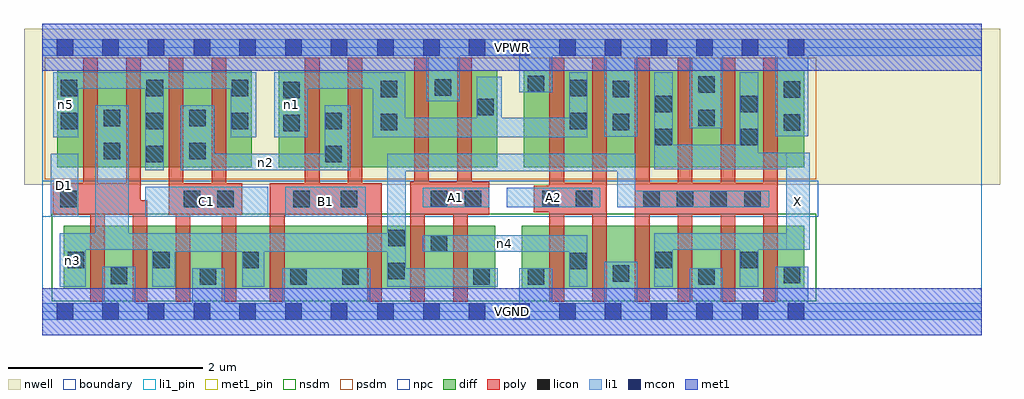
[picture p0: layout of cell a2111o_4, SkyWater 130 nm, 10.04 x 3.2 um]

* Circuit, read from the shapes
.subckt a2111o_4 A1 A2 B1 C1 D1 VGND VPWR X n1 n2 n3 n4 n5
XM1 VGND D1 n3 VSUBS sky130_fd_pr__nfet_01v8 w=0.65 l=0.15 m=2
XM2 VGND C1 n3 VSUBS sky130_fd_pr__nfet_01v8 w=0.65 l=0.15 m=2
XM3 VGND B1 n3 VSUBS sky130_fd_pr__nfet_01v8 w=0.65 l=0.15 m=2
XM4 n4 A1 n3 VSUBS sky130_fd_pr__nfet_01v8 w=0.65 l=0.15 m=2
XM5 n4 A2 VGND VSUBS sky130_fd_pr__nfet_01v8 w=0.65 l=0.15 m=2
XM6 X n3 VGND VSUBS sky130_fd_pr__nfet_01v8 w=0.65 l=0.15 m=4
XM7 n3 D1 n5 n6 sky130_fd_pr__pfet_01v8 w=1 l=0.15 m=2
XM8 n2 C1 n5 n6 sky130_fd_pr__pfet_01v8 w=1 l=0.15 m=2
XM9 n2 B1 n1 n6 sky130_fd_pr__pfet_01v8 w=1 l=0.15 m=2
XM10 VPWR A1 n1 n6 sky130_fd_pr__pfet_01v8 w=1 l=0.15 m=2
XM11 n1 A2 VPWR n6 sky130_fd_pr__pfet_01v8 w=1 l=0.15 m=2
XM12 X n3 VPWR n6 sky130_fd_pr__pfet_01v8 w=1 l=0.15 m=4
.ends

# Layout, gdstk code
import gdstk
lib = gdstk.Library(unit=1e-6, precision=1e-09)
def R(c, l, rs):  # rectangles x0, y0, x1, y1
    for r in rs: c.add(gdstk.rectangle(r[:2], r[2:], *l))
def A(c, l, x, y, w, h, nx, ny, dx, dy):  # array of equal rectangles
    R(c, l, [(x+i*dx, y+j*dy, x+i*dx+w, y+j*dy+h) for i in range(nx) for j in range(ny)])
nwell = (64, 20)
diff = (65, 20)
poly = (66, 20)
licon = (66, 44)
li1_pin = (67, 16)
li1 = (67, 20)
mcon = (67, 44)
met1_pin = (68, 16)
met1 = (68, 20)
nsdm = (93, 44)
psdm = (94, 20)
npc = (95, 20)
boundary = (235, 4)

a2111o_4 = lib.new_cell('a2111o_4')
R(a2111o_4, nwell, [(-0.19,1.305,9.85,2.91), (0,1.305,9.66,2.91)])
R(a2111o_4, diff, [(0.22,0.235,4.66,0.885), (4.93,0.235,7.835,0.885), (0.15,1.485,2.155,2.485), (2.43,1.485,4.68,2.485), (4.95,1.485,7.835,2.485)])
A(a2111o_4, poly, 5.215, 0.105, 0.15, 2.51, 6, 1, 0.44, 0)
A(a2111o_4, poly, 0.42, 0.995, 0.15, 1.62, 4, 1, 0.44, 0)
R(a2111o_4, poly, [(0.49,0.105,0.64,1.325), (0.93,0.105,1.08,1.145), (1.37,0.105,1.52,1.32), (1.845,0.105,1.995,1.32), (2.34,0.105,2.49,1.32), (3.34,0.105,3.49,1.32), (3.785,0.105,3.935,1.335), (4.225,0.105,4.375,1.335), (0.105,0.995,1.01,1.325), (1.3,0.995,2.055,1.32), (2.34,0.995,3.49,1.32), (2.7,0.995,2.85,2.615), (3.14,0.995,3.29,2.615), (3.785,0.995,4.595,1.335), (3.825,0.995,3.975,2.615), (4.265,0.995,4.415,2.615), (5.215,0.995,5.805,1.325), (6.095,0.995,7.565,1.325), (5.055,1.025,5.805,1.295)])
A(a2111o_4, licon, 6.18, 1.075, 0.17, 0.17, 3, 1, 0.345, 0)
A(a2111o_4, licon, 1.07, 1.535, 0.17, 0.17, 1, 3, 0, 0.34)
R(a2111o_4, licon, [(1.62,0.275,1.79,0.445), (2.55,0.275,2.72,0.445), (3.085,0.275,3.255,0.445), (4.43,0.275,4.6,0.445), (4.99,0.275,5.16,0.445), (6.745,0.275,6.915,0.445), (0.7,0.285,0.87,0.455), (7.625,0.295,7.795,0.465), (5.865,0.31,6.035,0.48), (3.555,0.335,3.725,0.505), (5.425,0.435,5.595,0.605), (0.26,0.445,0.43,0.615), (1.14,0.445,1.31,0.615), (2.055,0.445,2.225,0.615), (6.305,0.445,6.475,0.615), (7.185,0.445,7.355,0.615), (3.995,0.615,4.165,0.785), (3.555,0.675,3.725,0.845), (0.185,1.075,0.355,1.245), (1.455,1.075,1.625,1.245), (1.8,1.075,1.97,1.245), (2.58,1.075,2.75,1.245), (3.07,1.075,3.24,1.245), (3.995,1.075,4.165,1.245), (4.345,1.075,4.515,1.245), (5.14,1.075,5.31,1.245), (5.485,1.075,5.655,1.245), (7.22,1.075,7.39,1.245), (2.91,1.535,3.08,1.705), (0.63,1.57,0.8,1.74), (1.51,1.57,1.68,1.74), (6.305,1.71,6.475,1.88), (7.185,1.71,7.355,1.88), (2.475,1.855,2.645,2.025), (7.625,1.86,7.795,2.03), (3.48,1.865,3.65,2.035), (5.865,1.865,6.035,2.035), (0.19,1.875,0.36,2.045), (1.945,1.875,2.115,2.045), (2.91,1.875,3.08,2.045), (5.425,1.875,5.595,2.045), (0.63,1.91,0.8,2.08), (1.51,1.91,1.68,2.08), (6.745,1.91,6.915,2.08), (4.47,2.02,4.64,2.19), (6.305,2.05,6.475,2.22), (7.185,2.05,7.355,2.22), (2.475,2.195,2.645,2.365), (7.625,2.2,7.795,2.37), (3.48,2.205,3.65,2.375), (5.865,2.205,6.035,2.375), (0.19,2.215,0.36,2.385), (1.945,2.215,2.115,2.385), (5.425,2.215,5.595,2.385), (4.035,2.22,4.205,2.39), (6.745,2.25,6.915,2.42), (4.99,2.255,5.16,2.425)])
R(a2111o_4, li1_pin, [(7.65,0.635,7.895,1.635), (0.085,0.975,0.37,1.625), (1.055,0.975,2.32,1.285), (2.5,0.975,3.325,1.285), (3.91,1.075,4.595,1.275), (4.775,1.075,5.74,1.275)])
R(a2111o_4, li1, [(0,-0.085,9.66,0.085), (0.615,-0.085,0.955,0.465), (1.54,-0.085,1.875,0.445), (2.465,-0.085,3.37,0.445), (4.905,-0.085,5.245,0.445), (5.78,-0.085,6.12,0.515), (6.66,-0.085,7,0.445), (7.54,-0.085,7.875,0.465), (0.18,0.255,0.445,0.805), (1.13,0.255,1.365,0.805), (2.055,0.255,2.28,0.805), (3.545,0.255,4.685,0.445), (3.545,0.255,3.735,1.625), (5.42,0.255,5.605,0.785), (6.295,0.255,6.485,0.805), (7.175,0.255,7.365,0.805), (1.13,0.615,3.735,0.805), (3.91,0.615,5.605,0.785), (0.18,0.635,3.735,0.805), (0.545,0.635,0.885,2.125), (6.295,0.635,7.895,0.805), (7.65,0.635,7.895,1.635), (0.085,0.975,0.37,1.625), (1.055,0.975,2.32,1.285), (2.5,0.975,3.325,1.285), (3.91,1.075,4.595,1.275), (4.775,1.075,5.74,1.275), (5.915,1.075,7.475,1.245), (5.915,1.075,6.1,1.625), (3.545,1.445,6.1,1.625), (1.055,1.455,1.25,2.465), (1.425,1.455,3.165,1.625), (1.425,1.455,1.765,2.125), (2.905,1.455,3.165,2.125), (6.295,1.465,7.895,1.635), (6.295,1.465,6.485,2.465), (6.295,1.465,7.365,1.715), (7.175,1.465,7.365,2.465), (0.11,1.795,0.37,2.465), (1.935,1.795,2.2,2.465), (2.385,1.795,2.73,2.465), (3.395,1.795,5.605,1.995), (3.395,1.795,3.73,2.465), (4.465,1.795,4.725,2.415), (5.42,1.795,5.605,2.465), (5.78,1.8,6.12,2.805), (7.54,1.805,7.875,2.805), (6.66,1.885,7,2.805), (3.95,2.165,4.29,2.805), (4.905,2.255,5.245,2.805), (0.11,2.295,2.2,2.465), (2.385,2.295,3.73,2.465), (0,2.635,9.66,2.805)])
A(a2111o_4, mcon, 0.145, -0.085, 0.17, 0.17, 7, 2, 0.47, 2.72)
A(a2111o_4, mcon, 3.445, -0.085, 0.17, 0.17, 3, 2, 0.47, 2.72)
A(a2111o_4, mcon, 4.845, -0.085, 0.17, 0.17, 7, 2, 0.47, 2.72)
R(a2111o_4, met1_pin, [(0,-0.24,9.66,0.24), (0,2.48,9.66,2.96)])
R(a2111o_4, met1, [(0,-0.24,9.66,0.24), (0,2.48,9.66,2.96)])
R(a2111o_4, nsdm, [(0.095,0.11,7.96,1.01)])
R(a2111o_4, psdm, [(0.025,1.36,7.96,2.61)])
R(a2111o_4, npc, [(0,0.975,7.98,1.345)])
R(a2111o_4, boundary, [(0,0,9.66,2.72)])
a2111o_4.add(gdstk.Label('A1', (4.252,1.175), layer=67, texttype=5))
a2111o_4.add(gdstk.Label('A2', (5.257,1.175), layer=67, texttype=5))
a2111o_4.add(gdstk.Label('B1', (2.912,1.13), layer=67, texttype=5))
a2111o_4.add(gdstk.Label('C1', (1.687,1.13), layer=67, texttype=5))
a2111o_4.add(gdstk.Label('D1', (0.227,1.3), layer=67, texttype=5))
a2111o_4.add(gdstk.Label('X', (7.772,1.135), layer=67, texttype=5))
a2111o_4.add(gdstk.Label('n4', (4.757,0.7), layer=67, texttype=5))
a2111o_4.add(gdstk.Label('n3', (0.312,0.53), layer=67, texttype=5))
a2111o_4.add(gdstk.Label('n2', (2.295,1.54), layer=67, texttype=5))
a2111o_4.add(gdstk.Label('n5', (0.24,2.13), layer=67, texttype=5))
a2111o_4.add(gdstk.Label('n1', (2.557,2.13), layer=67, texttype=5))
a2111o_4.add(gdstk.Label('VPWR', (4.83,2.72), layer=68, texttype=5))
a2111o_4.add(gdstk.Label('VGND', (4.83,0), layer=68, texttype=5))
a2111o_4.add(gdstk.Label('A1', (4.252,1.175), layer=67, texttype=16))
a2111o_4.add(gdstk.Label('A2', (5.257,1.175), layer=67, texttype=16))
a2111o_4.add(gdstk.Label('B1', (2.912,1.13), layer=67, texttype=16))
a2111o_4.add(gdstk.Label('C1', (1.687,1.13), layer=67, texttype=16))
a2111o_4.add(gdstk.Label('D1', (0.227,1.3), layer=67, texttype=16))
a2111o_4.add(gdstk.Label('X', (7.772,1.135), layer=67, texttype=16))
a2111o_4.add(gdstk.Label('VPWR', (4.83,2.72), layer=68, texttype=16))
a2111o_4.add(gdstk.Label('VGND', (4.83,0), layer=68, texttype=16))

lib.write_gds('a2111o_4.gds')
